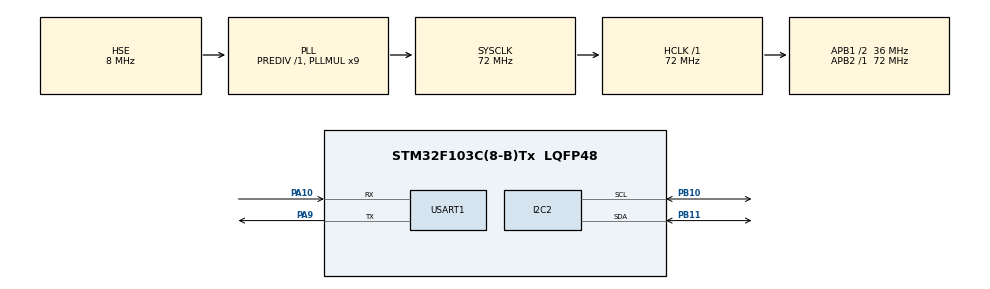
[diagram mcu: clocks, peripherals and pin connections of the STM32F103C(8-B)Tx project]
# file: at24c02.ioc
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Mcu.Family=STM32F1
Mcu.Name=STM32F103C(8-B)Tx
Mcu.Package=LQFP48
NVIC.PriorityGroup=NVIC_PRIORITYGROUP_4
PA10.Mode=Asynchronous
PA10.Signal=USART1_RX
PA13.Mode=Serial_Wire
PA13.Signal=SYS_JTMS-SWDIO
PA14.Mode=Serial_Wire
PA14.Signal=SYS_JTCK-SWCLK
PA9.Mode=Asynchronous
PA9.Signal=USART1_TX
PB10.Mode=I2C
PB10.Signal=I2C2_SCL
PB11.Mode=I2C
PB11.Signal=I2C2_SDA
PC14-OSC32_IN.Mode=LSE-External-Oscillator
PC14-OSC32_IN.Signal=RCC_OSC32_IN
PC15-OSC32_OUT.Mode=LSE-External-Oscillator
PC15-OSC32_OUT.Signal=RCC_OSC32_OUT
PD0-OSC_IN.Mode=HSE-External-Oscillator
PD0-OSC_IN.Signal=RCC_OSC_IN
PD1-OSC_OUT.Mode=HSE-External-Oscillator
PD1-OSC_OUT.Signal=RCC_OSC_OUT
ProjectManager.HeapSize=0x200
ProjectManager.StackSize=0x400
ProjectManager.TargetToolchain=CMake
RCC.AHBFreq_Value=72000000
RCC.APB1CLKDivider=RCC_HCLK_DIV2
RCC.APB1Freq_Value=36000000
RCC.APB1TimFreq_Value=72000000
RCC.APB2Freq_Value=72000000
RCC.APB2TimFreq_Value=72000000
RCC.HCLKFreq_Value=72000000
RCC.PLLMUL=RCC_PLL_MUL9
RCC.PLLSourceVirtual=RCC_PLLSOURCE_HSE
RCC.SYSCLKFreq_VALUE=72000000
RCC.SYSCLKSource=RCC_SYSCLKSOURCE_PLLCLK
RCC.USBFreq_Value=72000000
USART1.VirtualMode=VM_ASYNC
board=custom

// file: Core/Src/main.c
/* USER CODE BEGIN Header */
/**
  ******************************************************************************
  * @file           : main.c
  * @brief          : Main program body
  ******************************************************************************
  * @attention
  *
  * Copyright (c) 2026 STMicroelectronics.
  * All rights reserved.
  *
  * This software is licensed under terms that can be found in the LICENSE file
  * in the root directory of this software component.
  * If no LICENSE file comes with this software, it is provided AS-IS.
  *
  ******************************************************************************
  */
/* USER CODE END Header */
#include "main.h"
#include "i2c.h"
#include "usart.h"
#include "gpio.h"

/* USER CODE BEGIN Includes */
#include "stdio.h"
#include "string.h"
#include "at24c02.h"
/* USER CODE END Includes */

void SystemClock_Config(void);

/* USER CODE BEGIN 0 */
AT24C02_S eeprom;

int _write(int file, char *ptr, int len)
{
  HAL_UART_Transmit(&huart1, (uint8_t*)ptr, len, HAL_MAX_DELAY);
  return len;
}
/* USER CODE END 0 */

int main(void)
{

  /* MCU Configuration--------------------------------------------------------*/

  /* Reset of all peripherals, Initializes the Flash interface and the Systick. */
  HAL_Init();

  /* Configure the system clock */
  SystemClock_Config();

  /* Initialize all configured peripherals */
  MX_GPIO_Init();
  MX_I2C2_Init();
  MX_USART1_UART_Init();
  /* USER CODE BEGIN 2 */
  AT24C02_CFG_S cfg = {
    .hi2c      = &hi2c2,
    .dev_addr  = 0xA0,
    .page_size = 8,
    .capacity  = 256,
};
  AT24C02_Create(&eeprom, &cfg);

  uint16_t w_buf[16];
  uint16_t r_buf[16];
  memset(w_buf, 0xAA, sizeof(w_buf));
  memset(r_buf, 0, sizeof(w_buf));
  eeprom.write(&eeprom, 0, w_buf, 16);    // 从地址0写16字节 (自动跨页)
  eeprom.read(&eeprom, 0, r_buf, 16);     // 从地址0读16字节
  for (int i = 0; i < 16; i++)
  {
    printf("%02x", r_buf[i]);
  }
  /* USER CODE END 2 */

  /* Infinite loop */
  while (1)
  {

  }
}

void SystemClock_Config(void)
{
  RCC_OscInitTypeDef RCC_OscInitStruct = {0};
  RCC_ClkInitTypeDef RCC_ClkInitStruct = {0};

  /** Initializes the RCC Oscillators according to the specified parameters
  * in the RCC_OscInitTypeDef structure.
  */
  RCC_OscInitStruct.OscillatorType = RCC_OSCILLATORTYPE_HSE;
  RCC_OscInitStruct.HSEState = RCC_HSE_ON;
  RCC_OscInitStruct.HSEPredivValue = RCC_HSE_PREDIV_DIV1;
  RCC_OscInitStruct.HSIState = RCC_HSI_ON;
  RCC_OscInitStruct.PLL.PLLState = RCC_PLL_ON;
  RCC_OscInitStruct.PLL.PLLSource = RCC_PLLSOURCE_HSE;
  RCC_OscInitStruct.PLL.PLLMUL = RCC_PLL_MUL9;
  if (HAL_RCC_OscConfig(&RCC_OscInitStruct) != HAL_OK)
  {
    Error_Handler();
  }

  /** Initializes the CPU, AHB and APB buses clocks
  */
  RCC_ClkInitStruct.ClockType = RCC_CLOCKTYPE_HCLK|RCC_CLOCKTYPE_SYSCLK
                              |RCC_CLOCKTYPE_PCLK1|RCC_CLOCKTYPE_PCLK2;
  RCC_ClkInitStruct.SYSCLKSource = RCC_SYSCLKSOURCE_PLLCLK;
  RCC_ClkInitStruct.AHBCLKDivider = RCC_SYSCLK_DIV1;
  RCC_ClkInitStruct.APB1CLKDivider = RCC_HCLK_DIV2;
  RCC_ClkInitStruct.APB2CLKDivider = RCC_HCLK_DIV1;

  if (HAL_RCC_ClockConfig(&RCC_ClkInitStruct, FLASH_LATENCY_2) != HAL_OK)
  {
    Error_Handler();
  }
}

void Error_Handler(void)
{
  __disable_irq();
  while (1)
  {
  }
}
